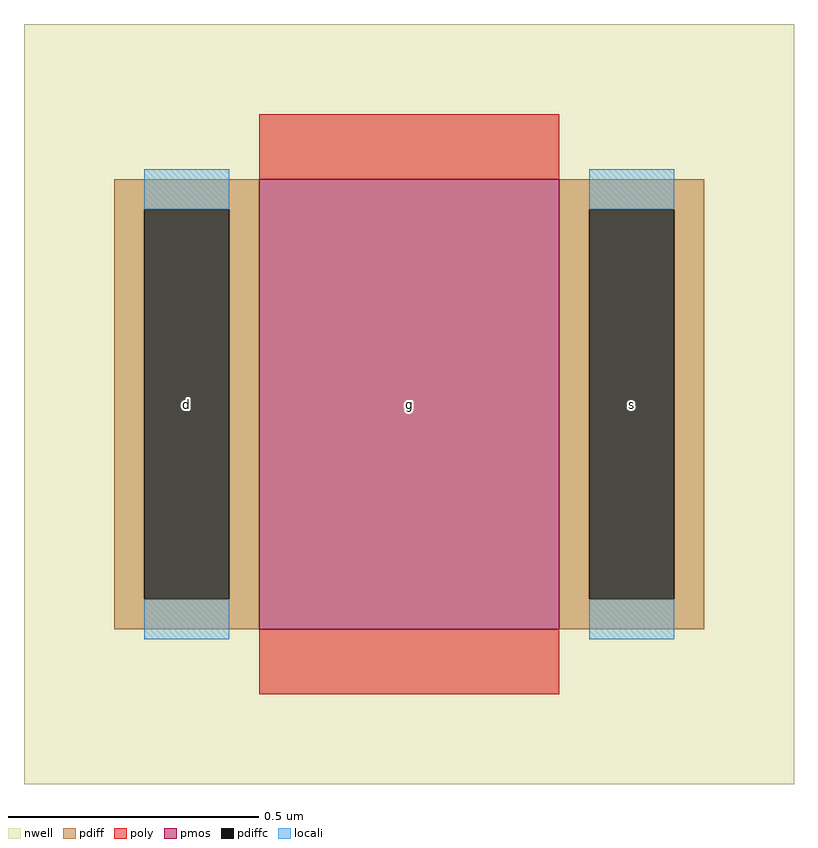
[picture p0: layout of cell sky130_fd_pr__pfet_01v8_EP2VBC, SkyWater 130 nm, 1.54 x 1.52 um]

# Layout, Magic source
magic
tech sky130A
magscale 1 2
<< nwell >>
rect -154 -152 154 152
<< pmos >>
rect -60 -90 60 90
<< pdiff >>
rect -118 78 -60 90
rect -118 -78 -106 78
rect -72 -78 -60 78
rect -118 -90 -60 -78
rect 60 78 118 90
rect 60 -78 72 78
rect 106 -78 118 78
rect 60 -90 118 -78
<< pdiffc >>
rect -106 -78 -72 78
rect 72 -78 106 78
<< poly >>
rect -60 90 60 116
rect -60 -116 60 -90
<< locali >>
rect -106 78 -72 94
rect -106 -94 -72 -78
rect 72 78 106 94
rect 72 -94 106 -78
<< labels >>
flabel pdiffc -89 0 -89 0 0 FreeSans 80 0 0 0 d
flabel pdiffc 89 0 89 0 0 FreeSans 80 0 0 0 s
flabel pmos -60 -90 60 90 0 FreeSans 80 0 0 0 g
<< properties >>
string gencell sky130_fd_pr__pfet_01v8
string library sky130
string parameters w 0.9 l 0.6 m 1 nf 1 diffcov 100 polycov 100 guard 0 glc 0 grc 0 gtc 0 gbc 0 tbcov 100 rlcov 100 topc 0 botc 0 poverlap 0 doverlap 1 lmin 0.15 wmin 0.42 compatible {sky130_fd_pr__pfet_01v8  sky130_fd_pr__pfet_01v8_lvt sky130_fd_pr__pfet_01v8_hvt  sky130_fd_pr__pfet_g5v0d10v5} full_metal 1 viasrc 100 viadrn 100 viagate 100 viagb 0 viagr 0 viagl 0 viagt 0
<< end >>
